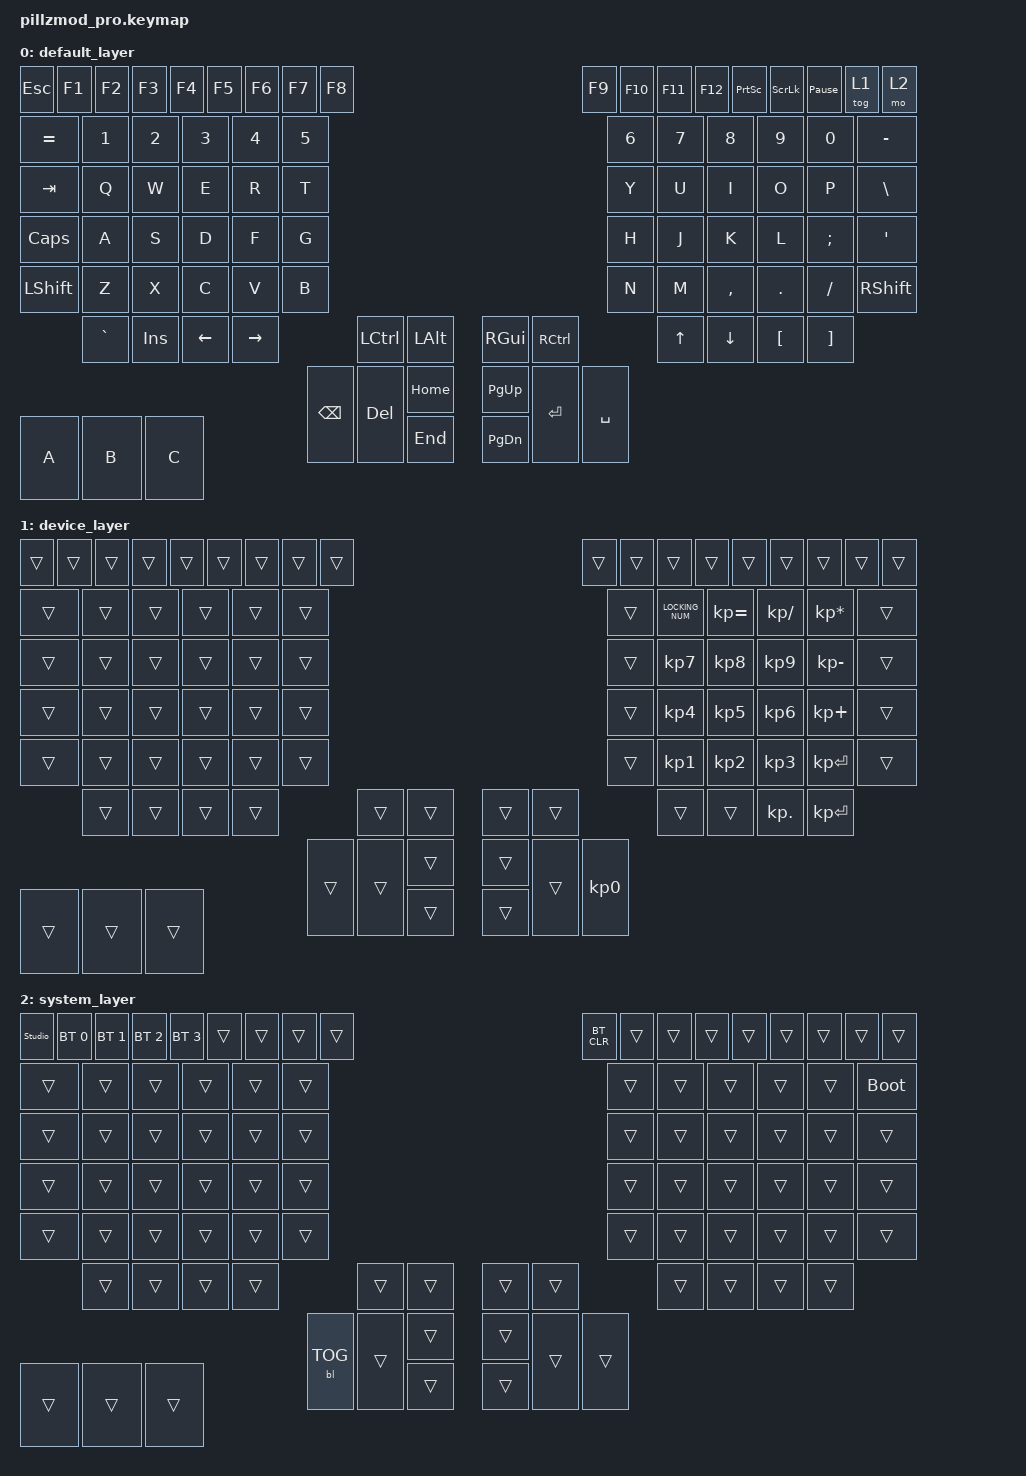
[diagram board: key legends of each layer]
/*
 * Copyright (c) 2020 The ZMK Contributors
 *
 * SPDX-License-Identifier: MIT
 */

#include <behaviors.dtsi>
#include <dt-bindings/zmk/keys.h>
#include <dt-bindings/zmk/backlight.h>
#include <dt-bindings/zmk/bt.h>
#include <dt-bindings/zmk/outputs.h>

/ {
    keymap {
        compatible = "zmk,keymap";

        default_layer {
            bindings = <
    &kp ESC   &kp F1    &kp F2    &kp F3    &kp F4    &kp F5    &kp F6    &kp F7    &kp F8         &kp F9    &kp F10   &kp F11   &kp F12   &kp PSCRN  &kp SLCK  &kp PAUSE_BREAK  &tog 1    &mo 2
    &kp EQUAL &kp N1    &kp N2    &kp N3    &kp N4    &kp N5                                                                     &kp N6    &kp N7    &kp N8    &kp N9    &kp N0    &kp MINUS
    &kp TAB   &kp Q     &kp W     &kp E     &kp R     &kp T                                                                      &kp Y     &kp U     &kp I     &kp O     &kp P     &kp BSLH
    &kp CAPS  &kp A     &kp S     &kp D     &kp F     &kp G                                                                      &kp H     &kp J     &kp K     &kp L     &kp SEMI  &kp SQT
    &kp LSHFT &kp Z     &kp X     &kp C     &kp V     &kp B                                                                      &kp N     &kp M     &kp COMMA &kp DOT   &kp SLASH &kp RSHFT
              &kp GRAVE   &kp INSERT   &kp LEFT  &kp RIGHT                                                                                       &kp UP    &kp DOWN  &kp LBKT  &kp RBKT
                                                    &kp LCTRL  &kp LALT                                               &kp RGUI  &kp RCTRL
                                                               &kp HOME                                               &kp PG_UP
                                        &kp BSPC  &kp DELETE   &kp END                                                &kp PG_DN  &kp ENTER &kp SPACE
    &kp A  &kp B  &kp C
            >;
        };
        
        device_layer {
            bindings = <
    &trans  &trans  &trans  &trans  &trans  &trans  &trans  &trans  &trans                          &trans  &trans  &trans  &trans  &trans  &trans  &trans  &trans  &trans
    &trans  &trans  &trans  &trans  &trans  &trans                                                                   &trans  &kp LOCKING_NUM   &kp KP_EQUAL  &kp KP_SLASH  &kp KP_ASTERISK  &trans
    &trans  &trans  &trans  &trans  &trans  &trans                                                                   &trans  &kp KP_N7    &kp KP_N8    &kp KP_N9    &kp KP_MINUS  &trans
    &trans  &trans  &trans  &trans  &trans  &trans                                                                   &trans  &kp KP_N4    &kp KP_N5    &kp KP_N6    &kp KP_PLUS   &trans
    &trans  &trans  &trans  &trans  &trans  &trans                                                                   &trans  &kp KP_N1    &kp KP_N2    &kp KP_N3    &kp KP_ENTER  &trans
            &trans  &trans  &trans  &trans                                                                                   &trans  &trans  &kp KP_DOT  &kp KP_ENTER
                                                  &trans  &trans                                        &trans  &trans
                                                          &trans                                        &trans
                                          &trans  &trans  &trans                                        &trans  &trans  &kp KP_N0
    &trans  &trans  &trans
            >;
        };

        system_layer {
            bindings = <
    &studio_unlock  &bt BT_SEL 0  &bt BT_SEL 1  &bt BT_SEL 2  &bt BT_SEL 3  &trans  &trans  &trans  &trans       &bt BT_CLR  &trans  &trans  &trans  &trans  &trans  &trans  &trans  &trans
    &trans  &trans  &trans  &trans  &trans  &trans                                                                   &trans  &trans  &trans  &trans  &trans  &bootloader
    &trans  &trans  &trans  &trans  &trans  &trans                                                                   &trans  &trans  &trans  &trans  &trans  &trans
    &trans  &trans  &trans  &trans  &trans  &trans                                                                   &trans  &trans  &trans  &trans  &trans  &trans
    &trans  &trans  &trans  &trans  &trans  &trans                                                                   &trans  &trans  &trans  &trans  &trans  &trans
            &trans  &trans  &trans  &trans                                                                                   &trans  &trans  &trans  &trans
                                                  &trans  &trans                                        &trans  &trans
                                                          &trans                                        &trans
                                      &bl BL_TOG  &trans  &trans                                        &trans  &trans  &trans
    &trans  &trans  &trans
            >;
        };

    };
};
